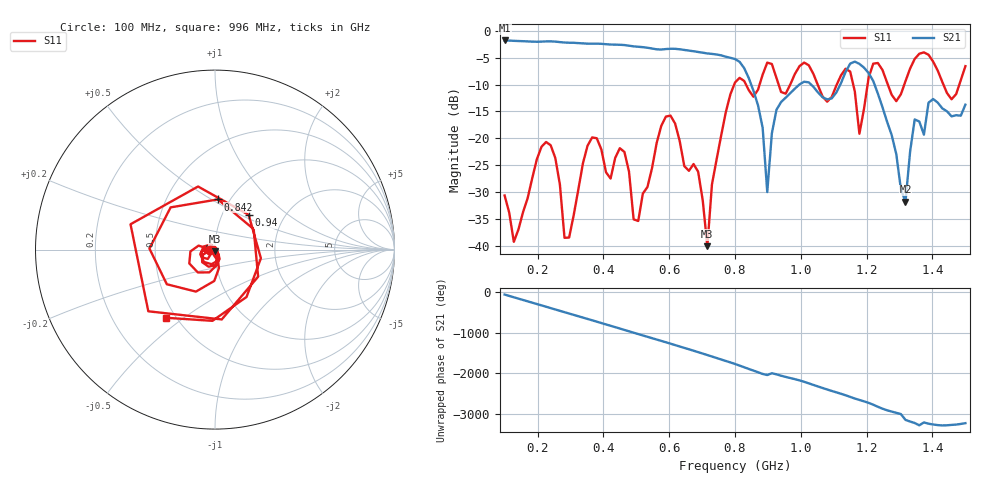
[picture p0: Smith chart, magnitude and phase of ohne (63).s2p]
! NanoVNA-App
! Date: 2025-09-26 09:55:53
! Start: 100MHz Stop: 1,5GHz Points: 101
! S-Parameter data: F S11 S21 S12 S22
# Hz S RI R 50
!  Frequency  S11_Real  S11_Imag  S21_Real  S21_Imag  S12_Real  S12_Imag  S22_Real  S22_Imag
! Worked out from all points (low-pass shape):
!   101 points, 100 MHz to 1.5 GHz, reference 50 ohm
!   highest |S21| = -1.79 dB at 100 MHz (marker M1); lowest = -31.8 dB at 1.318 GHz (marker M2)
!   |S21| within 3 dB of the highest: start of sweep to 770.7 MHz
!   lowest |S11| = -40.1 dB at 716 MHz (marker M3), VSWR 1.02, Z = 49.8 - j0.977 ohm
!   |S11| at or under -10 dB: start of sweep to 797.5 MHz; 833.4 MHz to 874.7 MHz (41.33 MHz wide, 4.84 % of centre); 1.051 GHz to 1.109 GHz (58 MHz wide, 5.37 % of centre)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
!   S12 and S22 are empty: the file has one direction only
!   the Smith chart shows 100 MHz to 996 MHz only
!   S11 on the Smith chart (normalised r, x): 100 MHz: 0.94, -0.01; 842 MHz: 0.88, +0.53; 940 MHz: 1.33, +0.56; 996 MHz: 0.44, -0.43
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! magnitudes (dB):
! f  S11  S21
! 100 MHz  -30.6  -1.8
! 128 MHz  -39.3  -1.9
! 226 MHz  -20.7  -2.0
! 296 MHz  -38.5  -2.2
! 338 MHz  -24.6  -2.3
! 464 MHz  -22.5  -2.6
! 506 MHz  -35.4  -3.0
! 576 MHz  -17.7  -3.5
! 688 MHz  -26.2  -3.9
! 716 MHz  -40.1  -4.2
! 800 MHz  -9.6  -5.3
! 842 MHz  -11.1  -8.8
! 898 MHz  -5.9  -30.0
! 940 MHz  -11.4  -13.2
! 996 MHz  -6.6  -10.0
! 1.038 GHz  -8.0  -10.4
! 1.178 GHz  -19.1  -6.1
! 1.22 GHz  -6.1  -9.3
! 1.276 GHz  -11.9  -19.4
! 1.318 GHz  -9.4  -31.8
! 1.346 GHz  -5.2  -16.5
! 1.5 GHz  -6.6  -13.7
